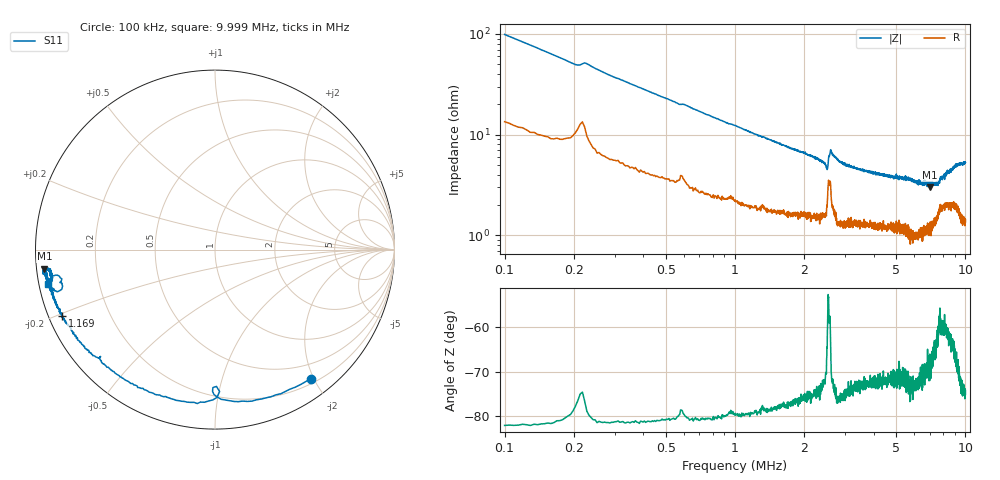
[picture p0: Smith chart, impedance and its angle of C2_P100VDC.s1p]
# HZ S RI R 50
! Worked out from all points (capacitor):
!   2020 points, 100 kHz to 9.999 MHz, reference 50 ohm
!   read as one part to ground: C = 14.7 nF near 149 kHz
!   lowest |Z| = 3 ohm at 7.008 MHz (marker M1)
!   S11 on the Smith chart (normalised r, x): 100 kHz: 0.27, -1.96; 1.169 MHz: 0.04, -0.21; 9.999 MHz: 0.03, -0.10
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100000  0.5333 -0.7195
124515  0.3929 -0.7898
153933  0.2304 -0.837
193157  0.0346 -0.8341
296120  -0.2415 -0.8319
369665  -0.4006 -0.7731
453016  -0.5281 -0.7094
536367  -0.6157 -0.6401
747196  -0.7443 -0.5214
928607  -0.8043 -0.4416
1168854  -0.85 -0.3697
1340459  -0.8686 -0.3323
1767020  -0.9 -0.2619
2374992  -0.9233 -0.1953
2468149  -0.921 -0.1759
2512276  -0.9139 -0.1501
2576015  -0.8543 -0.1882
2644657  -0.9012 -0.2218
2811359  -0.9299 -0.2011
3183987  -0.9352 -0.173
3816474  -0.941 -0.1533
5052030  -0.9379 -0.1392
6287586  -0.9517 -0.1225
7008327  -0.9507 -0.1064
7528045  -0.9374 -0.1109
7778098  -0.921 -0.116
8763601  -0.91 -0.1501
9999157  -0.9281 -0.1921
